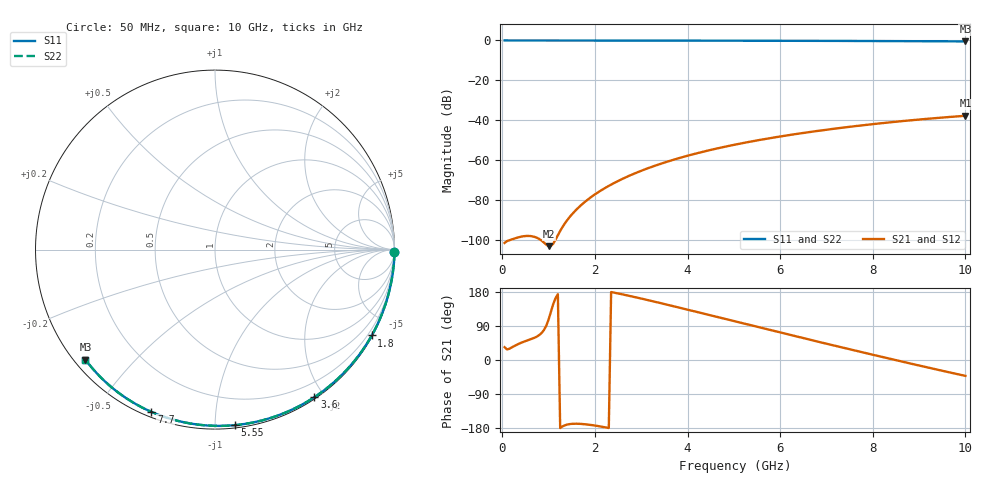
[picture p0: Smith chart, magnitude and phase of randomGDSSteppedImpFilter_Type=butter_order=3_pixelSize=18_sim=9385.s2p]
! freq	dB(S11)	phase(S11)	dB(S12)	phase(S12)
!  dB(S21)	phase(S21)	dB(S22)	phase(S22)
!S-par simulation data
#  GHz  S  DB  R 50
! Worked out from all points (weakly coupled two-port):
!   200 points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, 50 MHz to 10 GHz, reference 50 ohm
!   highest |S21| = -37.74 dB at 10 GHz (marker M1); lowest = -103.1 dB at 1 GHz (marker M2)
!   lowest |S11| = -0.5 dB at 10 GHz (marker M3), VSWR 36.75, Z = 1.54 - j18.4 ohm
!   |S11| at or under -10 dB: nowhere
!   |S22| runs from -0.5 to 0.0 dB; largest |S21 - S12| = 0
!   S11 on the Smith chart (normalised r, x): 50 MHz: open; 1.8 GHz: 0.03, -3.91; 3.6 GHz: 0.02, -1.88; 5.55 GHz: 0.02, -1.12; 7.7 GHz: 0.02, -0.68; 10 GHz: 0.03, -0.37
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0.05  -0.00 -0.8  -101.44 33.8  -101.44 33.8  -0.00 -0.8
0.5  -0.01 -8.1  -97.97 49.9  -97.97 49.9  -0.01 -8.1
1  -0.02 -16.1  -103.06 107.0  -103.06 107.0  -0.02 -16.1
1.75  -0.04 -27.9  -81.52 -169.1  -81.52 -169.1  -0.04 -27.9
1.8  -0.04 -28.7  -80.56 -169.7  -80.56 -169.7  -0.04 -28.7
1.85  -0.04 -29.5  -79.64 -170.4  -79.64 -170.4  -0.04 -29.5
2.05  -0.04 -32.6  -76.34 -173.9  -76.34 -173.9  -0.04 -32.6
2.25  -0.05 -35.7  -73.49 -178.3  -73.49 -178.3  -0.05 -35.7
2.55  -0.05 -40.3  -69.83 174.4  -69.83 174.4  -0.05 -40.3
2.95  -0.06 -46.4  -65.75 163.6  -65.75 163.6  -0.06 -46.4
3.4  -0.07 -53.1  -61.93 150.7  -61.93 150.7  -0.07 -53.1
3.6  -0.08 -56.0  -60.44 144.8  -60.44 144.8  -0.08 -56.0
3.9  -0.08 -60.4  -58.39 135.8  -58.39 135.8  -0.08 -60.4
4.3  -0.09 -66.2  -55.94 123.8  -55.94 123.8  -0.09 -66.2
5.05  -0.12 -76.7  -52.07 101.1  -52.07 101.1  -0.12 -76.7
5.55  -0.14 -83.5  -49.88 86.0  -49.88 86.0  -0.14 -83.5
6.1  -0.16 -90.9  -47.74 69.6  -47.74 69.6  -0.16 -90.9
6.7  -0.19 -98.7  -45.67 51.8  -45.67 51.8  -0.19 -98.7
7.7  -0.25 -111.4  -42.71 22.5  -42.71 22.5  -0.25 -111.4
8.35  -0.31 -119.5  -41.07 3.8  -41.07 3.8  -0.31 -119.5
9.2  -0.38 -129.9  -39.21 -20.1  -39.21 -20.1  -0.38 -129.9
10  -0.47 -139.7  -37.74 -41.9  -37.74 -41.9  -0.47 -139.7
